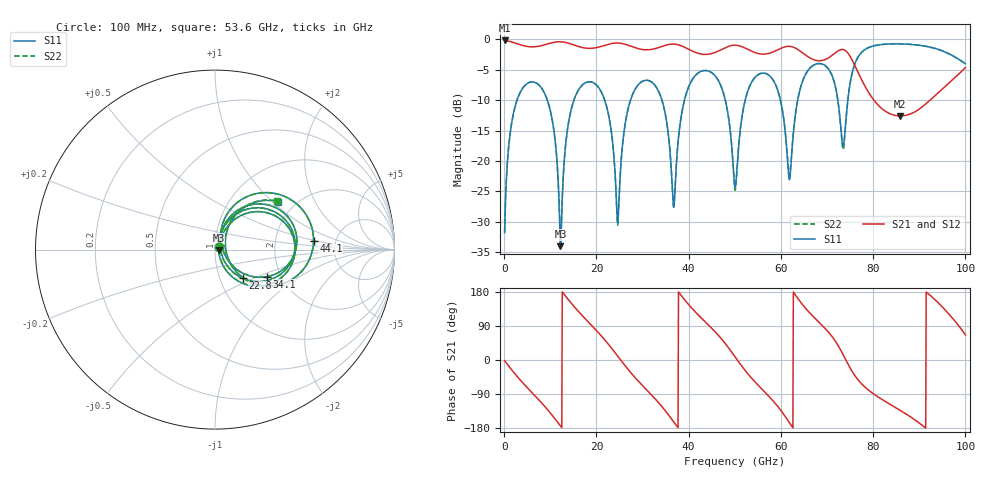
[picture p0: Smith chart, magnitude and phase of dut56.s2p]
! Touchstone file exported from HFSS 2026.1.0
!  File:  C:/ffzhzh/LocalFiles/Ansys_Project_Files/temp_train_TSV_RDL_56_1783446677_50928.aedt
!  Generated:  02:15:31 AM Jul  8, 2026
!  Design:  TSV_RDL
!  Project:  temp_train_TSV_RDL_56_1783446677_50928
! Variables:
!  h_bsmrdl = 2.14um
!  h_ox = 20um
!  h_rdl = 5um
!  h_sub = 70.4um
!  h_tmrdl = 4.04um
!  h_tsv = 70.4um
!  h_via = 3um
!  l_bsmrdl = 505.62um
!  l_sub = 4824.39um
!  l_tmrdl = 690.35um
!  m_sub = 200um
!  pitch = 47.63um
!  r_tsv = 13.44um
!  s_tmrdl = 10um
!  w_bsmrdl = 24.52um
!  w_sub = 500um
!  w_tmrdl = 24.19um
!  x_tsv_center1 = 702.445um
!  x_tsv_center2 = 1232.585um
!  x_tsv_center3 = 1947.125um
!  x_tsv_center4 = 2477.265um
!  x_tsv_center5 = 3191.805um
!  x_tsv_center6 = 3721.945um
# GHz S MA R 50.000000
! Terminal data exported
! Port[1] = TM_RDL1_1_T1
! Port[2] = TM_RDL5_1_T1
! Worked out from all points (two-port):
!   1000 points, 100 MHz to 100 GHz, reference 50 ohm
!   highest |S21| = -0.19 dB at 100 MHz (marker M1); lowest = -12.6 dB at 85.9 GHz (marker M2)
!   |S21| within 3 dB of the highest: start of sweep to 66.61 GHz; 70 GHz to 75.3 GHz (5.298 GHz wide, 7.29 % of centre)
!   lowest |S11| = -34.0 dB at 12.2 GHz (marker M3), VSWR 1.04, Z = 52 - j0.345 ohm
!   |S11| at or under -10 dB: 9.357 GHz to 15.13 GHz (5.771 GHz wide, 47.1 % of centre); 21.8 GHz to 27.4 GHz (5.603 GHz wide, 22.8 % of centre); 34.2 GHz to 39.09 GHz (4.882 GHz wide, 13.3 % of centre) (the widest 3 of 7)
!   |S22| runs from -33.5 to -0.7 dB; largest |S21 - S12| = 1.3e-12
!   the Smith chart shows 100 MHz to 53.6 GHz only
!   S11 on the Smith chart (normalised r, x): 100 MHz: 1.04, +0.03; 22.8 GHz: 1.28, -0.43; 34.1 GHz: 1.69, -0.57; 44.1 GHz: 3.39, +0.45; 53.6 GHz: 1.63, +1.08
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0.1  0.02573 33.5  0.9789 -1.7  0.9789 -1.7  0.02573 33.5
! Gamma 0 0 0 0
! Port Impedance 50 0 50 0
2  0.244 52.1  0.9421 -31.5  0.9421 -31.5  0.244 52.1
6  0.4465 2.0  0.8671 -85.6  0.8671 -85.6  0.4465 2.0
10.1  0.2498 -49.8  0.9319 -141.2  0.9319 -141.2  0.2499 -49.5
12.2  0.01989 -9.6  0.9549 -173.9  0.9549 -173.9  0.02117 -8.9
16.8  0.4155 26.3  0.8587 118.9  0.8587 118.9  0.4155 26.1
22.8  0.222 -46.0  0.9146 38.6  0.9146 38.6  0.2219 -46.4
24.6  0.0308 4.2  0.933 10.3  0.933 10.3  0.02956 4.0
27.6  0.3328 49.4  0.8736 -35.5  0.8736 -35.5  0.3328 49.6
33.4  0.379 -19.3  0.8535 -111.5  0.8535 -111.5  0.3791 -19.2
34.1  0.3254 -27.7  0.8712 -121.4  0.8712 -121.4  0.3256 -27.6
36.8  0.04149 23.4  0.9144 -163.9  0.9144 -163.9  0.04234 23.1
44.1  0.551 4.8  0.753 94.7  0.753 94.7  0.5509 4.7
50.1  0.06032 9.0  0.8947 7.8  0.8947 7.8  0.05725 9.2
53.6  0.44 37.4  0.8002 -47.3  0.8002 -47.3  0.4398 37.9
61.8  0.07016 6.4  0.8763 -164.4  0.8763 -164.4  0.07661 7.1
66.7  0.5992 25.6  0.6905 118.6  0.6905 118.6  0.5994 25.1
73.8  0.1578 37.2  0.8169 6.9  0.8169 6.9  0.1514 38.5
83.4  0.9158 -26.6  0.2468 -115.0  0.2468 -115.0  0.9155 -26.5
85.9  0.9176 -43.3  0.2344 -133.1  0.2344 -133.1  0.9173 -43.2
93.1  0.8486 -104.1  0.3353 162.6  0.3353 162.6  0.8482 -104.0
100  0.6308 160.2  0.5854 66.3  0.5854 66.3  0.6308 160.4
